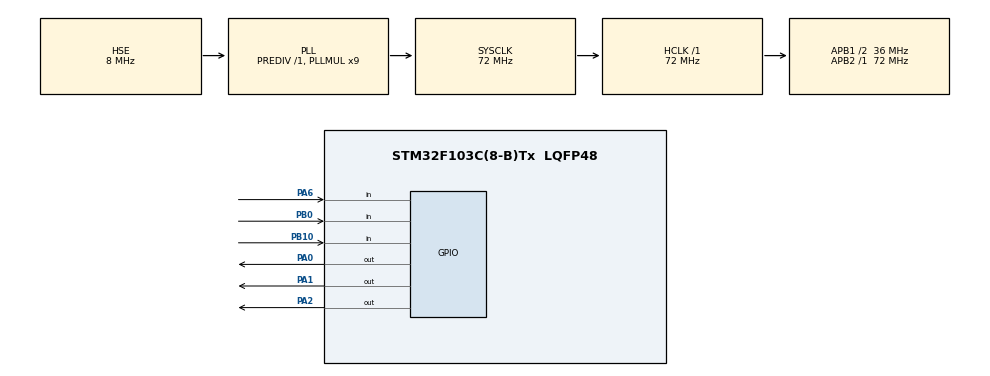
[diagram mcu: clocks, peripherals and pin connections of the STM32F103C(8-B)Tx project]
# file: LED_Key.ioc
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Mcu.Family=STM32F1
Mcu.Name=STM32F103C(8-B)Tx
Mcu.Package=LQFP48
NVIC.PriorityGroup=NVIC_PRIORITYGROUP_4
PA0-WKUP.GPIO_ModeDefaultOutputPP=GPIO_MODE_OUTPUT_OD
PA0-WKUP.GPIO_PuPd=GPIO_NOPULL
PA0-WKUP.PinState=GPIO_PIN_SET
PA0-WKUP.Signal=GPIO_Output
PA1.GPIO_ModeDefaultOutputPP=GPIO_MODE_OUTPUT_OD
PA1.GPIO_PuPd=GPIO_NOPULL
PA1.PinState=GPIO_PIN_SET
PA1.Signal=GPIO_Output
PA13.Mode=Serial_Wire
PA13.Signal=SYS_JTMS-SWDIO
PA14.Mode=Serial_Wire
PA14.Signal=SYS_JTCK-SWCLK
PA2.GPIO_ModeDefaultOutputPP=GPIO_MODE_OUTPUT_OD
PA2.GPIO_PuPd=GPIO_NOPULL
PA2.PinState=GPIO_PIN_SET
PA2.Signal=GPIO_Output
PA6.GPIO_PuPd=GPIO_PULLUP
PA6.Signal=GPIO_Input
PB0.GPIO_PuPd=GPIO_PULLUP
PB0.Signal=GPIO_Input
PB10.GPIO_PuPd=GPIO_PULLUP
PB10.Signal=GPIO_Input
PD0-OSC_IN.Mode=HSE-External-Oscillator
PD0-OSC_IN.Signal=RCC_OSC_IN
PD1-OSC_OUT.Mode=HSE-External-Oscillator
PD1-OSC_OUT.Signal=RCC_OSC_OUT
ProjectManager.HeapSize=0x200
ProjectManager.StackSize=0x400
ProjectManager.TargetToolchain=STM32CubeIDE
RCC.AHBFreq_Value=72000000
RCC.APB1CLKDivider=RCC_HCLK_DIV2
RCC.APB1Freq_Value=36000000
RCC.APB1TimFreq_Value=72000000
RCC.APB2Freq_Value=72000000
RCC.APB2TimFreq_Value=72000000
RCC.HCLKFreq_Value=72000000
RCC.PLLMUL=RCC_PLL_MUL9
RCC.PLLSourceVirtual=RCC_PLLSOURCE_HSE
RCC.SYSCLKFreq_VALUE=72000000
RCC.SYSCLKSource=RCC_SYSCLKSOURCE_PLLCLK
RCC.USBFreq_Value=72000000
board=custom

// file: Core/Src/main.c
/* USER CODE BEGIN Header */
/**
  ******************************************************************************
  * @file           : main.c
  * @brief          : Main program body
  ******************************************************************************
  * @attention
  *
  * Copyright (c) 2026 STMicroelectronics.
  * All rights reserved.
  *
  * This software is licensed under terms that can be found in the LICENSE file
  * in the root directory of this software component.
  * If no LICENSE file comes with this software, it is provided AS-IS.
  *
  ******************************************************************************
  */
/* USER CODE END Header */
#include "main.h"
#include "gpio.h"

/* USER CODE BEGIN Includes */
#include "Key.h"
/* USER CODE END Includes */

uint8_t KeyNum;

void SystemClock_Config(void);

int main(void)
{

  /* MCU Configuration--------------------------------------------------------*/

  /* Reset of all peripherals, Initializes the Flash interface and the Systick. */
  HAL_Init();

  /* Configure the system clock */
  SystemClock_Config();

  /* Initialize all configured peripherals */
  MX_GPIO_Init();

  /* Infinite loop */
  /* USER CODE BEGIN WHILE */
  while (1)
  {
	  KeyNum=Key_GetNum();
	 	  if(KeyNum==1)
	 	  {
	 		  if(HAL_GPIO_ReadPin(GPIOA,GPIO_PIN_0)==GPIO_PIN_SET)
	 		  {
	 			  HAL_GPIO_WritePin(GPIOA, GPIO_PIN_0,GPIO_PIN_RESET);
	 		  }
	 		  else
	 		  {
	 			  HAL_GPIO_WritePin(GPIOA,GPIO_PIN_0,GPIO_PIN_SET);
	 		  }
	 	  }
	 	  if(KeyNum==2)
	 	  {
	 		  if(HAL_GPIO_ReadPin(GPIOA,GPIO_PIN_1)==GPIO_PIN_SET)
	 		  {
	 			  HAL_GPIO_WritePin(GPIOA, GPIO_PIN_1, GPIO_PIN_RESET);
	 		  }
	 		  else
	 		  {
	 			  HAL_GPIO_WritePin(GPIOA, GPIO_PIN_1, GPIO_PIN_SET);
	 		  }
	 	  }

	 	  if(KeyNum==3)
	 	  {
	 		  if(HAL_GPIO_ReadPin(GPIOA, GPIO_PIN_2)==GPIO_PIN_SET)
	 		  {
	 			  HAL_GPIO_WritePin(GPIOA, GPIO_PIN_2, GPIO_PIN_RESET);
	 		  }
	 		  else
	 		  {
	 			  HAL_GPIO_WritePin(GPIOA, GPIO_PIN_2, GPIO_PIN_SET);
	 		  }
	 	  }

	 	  if(KeyNum==0)
	 	  {

	 	  }
    /* USER CODE END WHILE */

  }
}

void SystemClock_Config(void)
{
  RCC_OscInitTypeDef RCC_OscInitStruct = {0};
  RCC_ClkInitTypeDef RCC_ClkInitStruct = {0};

  /** Initializes the RCC Oscillators according to the specified parameters
  * in the RCC_OscInitTypeDef structure.
  */
  RCC_OscInitStruct.OscillatorType = RCC_OSCILLATORTYPE_HSE;
  RCC_OscInitStruct.HSEState = RCC_HSE_ON;
  RCC_OscInitStruct.HSEPredivValue = RCC_HSE_PREDIV_DIV1;
  RCC_OscInitStruct.HSIState = RCC_HSI_ON;
  RCC_OscInitStruct.PLL.PLLState = RCC_PLL_ON;
  RCC_OscInitStruct.PLL.PLLSource = RCC_PLLSOURCE_HSE;
  RCC_OscInitStruct.PLL.PLLMUL = RCC_PLL_MUL9;
  if (HAL_RCC_OscConfig(&RCC_OscInitStruct) != HAL_OK)
  {
    Error_Handler();
  }

  /** Initializes the CPU, AHB and APB buses clocks
  */
  RCC_ClkInitStruct.ClockType = RCC_CLOCKTYPE_HCLK|RCC_CLOCKTYPE_SYSCLK
                              |RCC_CLOCKTYPE_PCLK1|RCC_CLOCKTYPE_PCLK2;
  RCC_ClkInitStruct.SYSCLKSource = RCC_SYSCLKSOURCE_PLLCLK;
  RCC_ClkInitStruct.AHBCLKDivider = RCC_SYSCLK_DIV1;
  RCC_ClkInitStruct.APB1CLKDivider = RCC_HCLK_DIV2;
  RCC_ClkInitStruct.APB2CLKDivider = RCC_HCLK_DIV1;

  if (HAL_RCC_ClockConfig(&RCC_ClkInitStruct, FLASH_LATENCY_2) != HAL_OK)
  {
    Error_Handler();
  }
}

void Error_Handler(void)
{
  __disable_irq();
  while (1)
  {
  }
}
